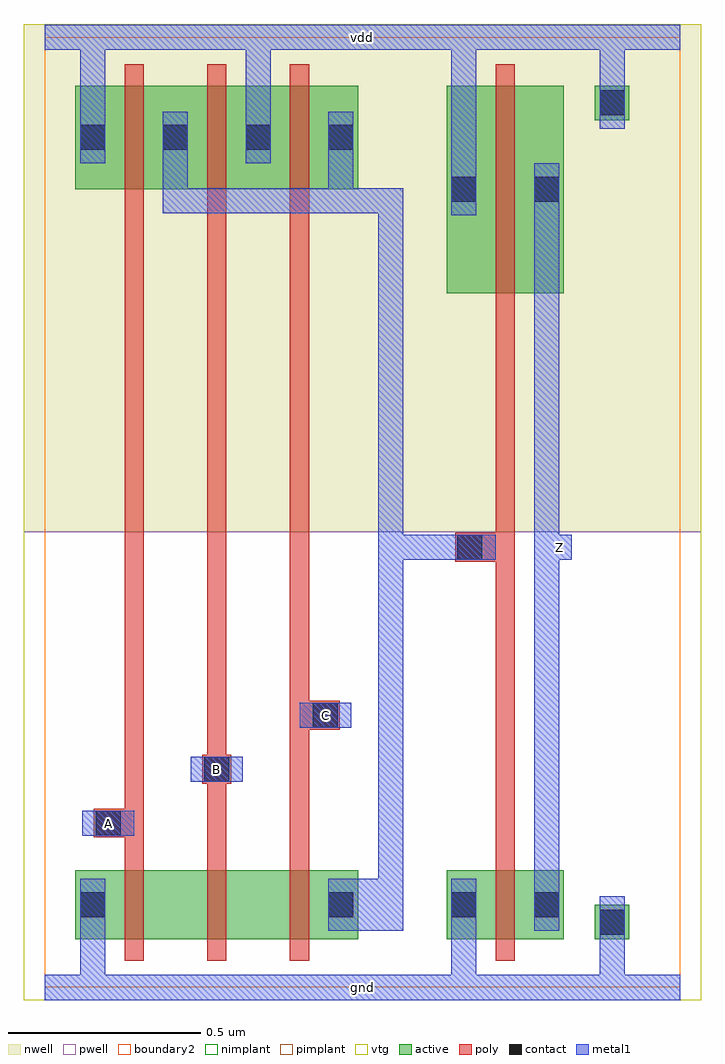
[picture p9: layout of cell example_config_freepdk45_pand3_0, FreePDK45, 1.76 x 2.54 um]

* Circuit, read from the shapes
.subckt example_config_freepdk45_pand3_0 A B C Z gnd vdd
M1 example_config_freepdk45_pnand3_0_0/example_config_freepdk45_nmos_m1_w0_180_sm1_dactive_3/D A gnd gnd nfet w=0.18u l=0.05u
M2 example_config_freepdk45_pnand3_0_0/example_config_freepdk45_nmos_m1_w0_180_sactive_dactive_4/D B example_config_freepdk45_pnand3_0_0/example_config_freepdk45_nmos_m1_w0_180_sm1_dactive_3/D gnd nfet w=0.18u l=0.05u
M3 example_config_freepdk45_pdriver_3_1/A C example_config_freepdk45_pnand3_0_0/example_config_freepdk45_nmos_m1_w0_180_sactive_dactive_4/D gnd nfet w=0.18u l=0.05u
M4 Z example_config_freepdk45_pdriver_3_1/A gnd gnd nfet w=0.18u l=0.05u
M5 example_config_freepdk45_pdriver_3_1/A A vdd vdd pfet w=0.27u l=0.05u
M6 vdd B example_config_freepdk45_pdriver_3_1/A vdd pfet w=0.27u l=0.05u
M7 example_config_freepdk45_pdriver_3_1/A C vdd vdd pfet w=0.27u l=0.05u
M8 Z example_config_freepdk45_pdriver_3_1/A vdd vdd pfet w=0.54u l=0.05u
.ends

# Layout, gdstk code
import gdstk
lib = gdstk.Library(unit=1e-6, precision=5e-10)
def R(c, l, rs):  # rectangles x0, y0, x1, y1
    for r in rs: c.add(gdstk.rectangle(r[:2], r[2:], *l))
def A(c, l, x, y, w, h, nx, ny, dx, dy):  # array of equal rectangles
    R(c, l, [(x+i*dx, y+j*dy, x+i*dx+w, y+j*dy+h) for i in range(nx) for j in range(ny)])
active = (1, 0)
pwell = (2, 0)
nwell = (3, 0)
nimplant = (4, 0)
pimplant = (5, 0)
vtg = (6, 0)
poly = (9, 0)
contact = (10, 0)
metal1 = (11, 0)
boundary2 = (239, 0)

example_config_freepdk45 = lib.new_cell('example_config_freepdk45_contact_11')
R(example_config_freepdk45, active, [(0,0.0225,0.09,0.1125)])
R(example_config_freepdk45, nwell, [(-0.055,-0.0325,0.145,0.1675)])
R(example_config_freepdk45, pimplant, [(0,0.0225,0.09,0.1125)])
R(example_config_freepdk45, contact, [(0.0125,0.035,0.0775,0.1)])
R(example_config_freepdk45, metal1, [(0.0125,0,0.0775,0.135)])
R(example_config_freepdk45, boundary2, [(-0.055,-0.0325,0.145,0.1675)])

c_example_config_freepdk45 = lib.new_cell('example_config_freepdk45_pmos_m1_w0_270_sm1_dm1')
R(c_example_config_freepdk45, active, [(0,0,0.305,0.27)])
R(c_example_config_freepdk45, nwell, [(-0.08,-0.08,0.385,0.35)])
R(c_example_config_freepdk45, pimplant, [(0,0,0.305,0.27)])
R(c_example_config_freepdk45, vtg, [(-0.08,-0.08,0.385,0.35)])
R(c_example_config_freepdk45, poly, [(0.1275,-0.055,0.1775,0.325), (0.1275,-0.055,0.1775,0.325)])
R(c_example_config_freepdk45, metal1, [(0.0125,0.0675,0.0775,0.2025), (0.2275,0.0675,0.2925,0.2025)])
R(c_example_config_freepdk45, boundary2, [(-0.08,-0.08,0.385,0.35)])
c_example_config_freepdk45.add(gdstk.Reference(example_config_freepdk45, (0,0.0675)))
c_example_config_freepdk45.add(gdstk.Reference(example_config_freepdk45, (0.215,0.0675)))
c_example_config_freepdk45.add(gdstk.Label('G', (0.1525,0.135), layer=9, texttype=0))
c_example_config_freepdk45.add(gdstk.Label('S', (0.045,0.135), layer=11, texttype=0))
c_example_config_freepdk45.add(gdstk.Label('D', (0.26,0.135), layer=11, texttype=0))

c_example_config_freepdk45_ = lib.new_cell('example_config_freepdk45_contact_10')
R(c_example_config_freepdk45_, active, [(0,0.0225,0.09,0.1125)])
R(c_example_config_freepdk45_, pwell, [(-0.055,-0.0325,0.145,0.1675)])
R(c_example_config_freepdk45_, nimplant, [(0,0.0225,0.09,0.1125)])
R(c_example_config_freepdk45_, contact, [(0.0125,0.035,0.0775,0.1)])
R(c_example_config_freepdk45_, metal1, [(0.0125,0,0.0775,0.135)])
R(c_example_config_freepdk45_, boundary2, [(-0.055,-0.0325,0.145,0.1675)])

c_example_config_freepdk45__ = lib.new_cell('example_config_freepdk45_nmos_m1_w0_180_sm1_dactive')
R(c_example_config_freepdk45__, active, [(0,0,0.305,0.18), (0.215,0.045,0.305,0.135)])
R(c_example_config_freepdk45__, pwell, [(-0.08,-0.08,0.385,0.26)])
R(c_example_config_freepdk45__, nimplant, [(0,0,0.305,0.18)])
R(c_example_config_freepdk45__, vtg, [(-0.08,-0.08,0.385,0.26)])
R(c_example_config_freepdk45__, poly, [(0.1275,-0.055,0.1775,0.235), (0.1275,-0.055,0.1775,0.235)])
R(c_example_config_freepdk45__, metal1, [(0.0125,0.0225,0.0775,0.1575)])
R(c_example_config_freepdk45__, boundary2, [(-0.08,-0.08,0.385,0.26)])
c_example_config_freepdk45__.add(gdstk.Reference(c_example_config_freepdk45_, (0,0.0225)))
c_example_config_freepdk45__.add(gdstk.Label('G', (0.1525,0.09), layer=9, texttype=0))
c_example_config_freepdk45__.add(gdstk.Label('S', (0.045,0.09), layer=11, texttype=0))
c_example_config_freepdk45__.add(gdstk.Label('D', (0.26,0.09), layer=1, texttype=0))

c_example_config_freepdk45___ = lib.new_cell('example_config_freepdk45_nmos_m1_w0_180_sactive_dactive')
R(c_example_config_freepdk45___, active, [(0,0,0.305,0.18), (0,0.045,0.09,0.135), (0.215,0.045,0.305,0.135)])
R(c_example_config_freepdk45___, pwell, [(-0.08,-0.08,0.385,0.26)])
R(c_example_config_freepdk45___, nimplant, [(0,0,0.305,0.18)])
R(c_example_config_freepdk45___, vtg, [(-0.08,-0.08,0.385,0.26)])
R(c_example_config_freepdk45___, poly, [(0.1275,-0.055,0.1775,0.235), (0.1275,-0.055,0.1775,0.235)])
R(c_example_config_freepdk45___, boundary2, [(-0.08,-0.08,0.385,0.26)])
c_example_config_freepdk45___.add(gdstk.Label('G', (0.1525,0.09), layer=9, texttype=0))
c_example_config_freepdk45___.add(gdstk.Label('S', (0.045,0.09), layer=1, texttype=0))
c_example_config_freepdk45___.add(gdstk.Label('D', (0.26,0.09), layer=1, texttype=0))

c_example_config_freepdk45____ = lib.new_cell('example_config_freepdk45_nmos_m1_w0_180_sactive_dm1')
R(c_example_config_freepdk45____, active, [(0,0,0.305,0.18), (0,0.045,0.09,0.135)])
R(c_example_config_freepdk45____, pwell, [(-0.08,-0.08,0.385,0.26)])
R(c_example_config_freepdk45____, nimplant, [(0,0,0.305,0.18)])
R(c_example_config_freepdk45____, vtg, [(-0.08,-0.08,0.385,0.26)])
R(c_example_config_freepdk45____, poly, [(0.1275,-0.055,0.1775,0.235), (0.1275,-0.055,0.1775,0.235)])
R(c_example_config_freepdk45____, metal1, [(0.2275,0.0225,0.2925,0.1575)])
R(c_example_config_freepdk45____, boundary2, [(-0.08,-0.08,0.385,0.26)])
c_example_config_freepdk45____.add(gdstk.Reference(c_example_config_freepdk45_, (0.215,0.0225)))
c_example_config_freepdk45____.add(gdstk.Label('G', (0.1525,0.09), layer=9, texttype=0))
c_example_config_freepdk45____.add(gdstk.Label('S', (0.045,0.09), layer=1, texttype=0))
c_example_config_freepdk45____.add(gdstk.Label('D', (0.26,0.09), layer=11, texttype=0))

c_example_config_freepdk45_____ = lib.new_cell('example_config_freepdk45_contact_14')
R(c_example_config_freepdk45_____, poly, [(0.03,0,0.105,0.075)])
R(c_example_config_freepdk45_____, contact, [(0.035,0.005,0.1,0.07)])
R(c_example_config_freepdk45_____, metal1, [(0,0.005,0.135,0.07)])
R(c_example_config_freepdk45_____, boundary2, [(0,0,0.135,0.075)])

c_example_config_freepdk45______ = lib.new_cell('example_config_freepdk45_pnand3_0')
R(c_example_config_freepdk45______, pwell, [(-0.055,-0.0325,1.02,1.185)])
R(c_example_config_freepdk45______, nwell, [(-0.055,1.185,1.02,2.505)])
R(c_example_config_freepdk45______, vtg, [(-0.055,-0.0325,1.02,1.185), (-0.055,1.185,1.02,2.505)])
A(c_example_config_freepdk45______, poly, 0.2075, 0.36, 0.05, 1.66, 3, 1, 0.215, 0)
R(c_example_config_freepdk45______, poly, [(0.165,0.39,0.2075,0.465), (0.4225,0.53,0.4475,0.605), (0.6375,0.67,0.73,0.745)])
R(c_example_config_freepdk45______, metal1, [(0,-0.0325,0.965,0.0325), (0.0925,-0.0325,0.1575,0.1475), (0.77,0.1475,0.9,0.2825), (0.8675,0.1475,0.9325,2.045), (0.0975,0.395,0.2325,0.46), (0.38,0.535,0.515,0.6), (0.6625,0.675,0.7975,0.74), (0.3075,2.0125,0.3725,2.0775), (0.34,2.0125,0.9,2.0775), (0.7375,2.0125,0.8025,2.0775), (0.77,2.0125,0.9,2.0775), (0.8675,2.0125,0.9325,2.0775), (0.3075,2.045,0.3725,2.21), (0.7375,2.045,0.8025,2.21), (0.0925,2.1425,0.1575,2.5025), (0.5225,2.1425,0.5875,2.5025), (0,2.4375,0.965,2.5025)])
R(c_example_config_freepdk45______, boundary2, [(0,0,0.965,2.47), (0,0,0.965,2.47)])
c_example_config_freepdk45______.add(gdstk.Reference(c_example_config_freepdk45, (0.08,2.075)))
c_example_config_freepdk45______.add(gdstk.Reference(c_example_config_freepdk45, (0.295,2.075)))
c_example_config_freepdk45______.add(gdstk.Reference(c_example_config_freepdk45, (0.51,2.075)))
c_example_config_freepdk45______.add(gdstk.Reference(c_example_config_freepdk45__, (0.08,0.125)))
c_example_config_freepdk45______.add(gdstk.Reference(c_example_config_freepdk45___, (0.295,0.125)))
c_example_config_freepdk45______.add(gdstk.Reference(c_example_config_freepdk45____, (0.51,0.125)))
c_example_config_freepdk45______.add(gdstk.Reference(c_example_config_freepdk45_____, (0.0975,0.39)))
c_example_config_freepdk45______.add(gdstk.Reference(c_example_config_freepdk45_____, (0.38,0.53)))
c_example_config_freepdk45______.add(gdstk.Reference(c_example_config_freepdk45_____, (0.6625,0.67)))
c_example_config_freepdk45______.add(gdstk.Label('A', (0.165,0.4275), layer=11, texttype=0))
c_example_config_freepdk45______.add(gdstk.Label('B', (0.4475,0.5675), layer=11, texttype=0))
c_example_config_freepdk45______.add(gdstk.Label('C', (0.73,0.7075), layer=11, texttype=0))
c_example_config_freepdk45______.add(gdstk.Label('Z', (0.9,2.045), layer=11, texttype=0))
c_example_config_freepdk45______.add(gdstk.Label('gnd', (0.4825,0), layer=11, texttype=0))
c_example_config_freepdk45______.add(gdstk.Label('vdd', (0.4825,2.47), layer=11, texttype=0))

c_example_config_freepdk45_______ = lib.new_cell('example_config_freepdk45_pmos_m1_w0_540_sm1_dm1_da_p')
R(c_example_config_freepdk45_______, active, [(0,0,0.305,0.54)])
R(c_example_config_freepdk45_______, nwell, [(-0.08,-0.08,0.385,0.62)])
R(c_example_config_freepdk45_______, pimplant, [(0,0,0.305,0.54)])
R(c_example_config_freepdk45_______, vtg, [(-0.08,-0.08,0.385,0.62)])
R(c_example_config_freepdk45_______, poly, [(0.1275,-0.055,0.1775,0.595), (0.1275,-0.055,0.1775,0.595)])
R(c_example_config_freepdk45_______, metal1, [(0.0125,0.2025,0.0775,0.3375), (0.2275,0.2025,0.2925,0.3375)])
R(c_example_config_freepdk45_______, boundary2, [(-0.08,-0.08,0.385,0.62)])
c_example_config_freepdk45_______.add(gdstk.Reference(example_config_freepdk45, (0,0.2025)))
c_example_config_freepdk45_______.add(gdstk.Reference(example_config_freepdk45, (0.215,0.2025)))
c_example_config_freepdk45_______.add(gdstk.Label('G', (0.1525,0.27), layer=9, texttype=0))
c_example_config_freepdk45_______.add(gdstk.Label('S', (0.045,0.27), layer=11, texttype=0))
c_example_config_freepdk45_______.add(gdstk.Label('D', (0.26,0.27), layer=11, texttype=0))

c_example_config_freepdk45________ = lib.new_cell('example_config_freepdk45_nmos_m1_w0_180_sm1_dm1_da_p')
R(c_example_config_freepdk45________, active, [(0,0,0.305,0.18)])
R(c_example_config_freepdk45________, pwell, [(-0.08,-0.08,0.385,0.26)])
R(c_example_config_freepdk45________, nimplant, [(0,0,0.305,0.18)])
R(c_example_config_freepdk45________, vtg, [(-0.08,-0.08,0.385,0.26)])
R(c_example_config_freepdk45________, poly, [(0.1275,-0.055,0.1775,0.235), (0.1275,-0.055,0.1775,0.235)])
R(c_example_config_freepdk45________, metal1, [(0.0125,0.0225,0.0775,0.1575), (0.2275,0.0225,0.2925,0.1575)])
R(c_example_config_freepdk45________, boundary2, [(-0.08,-0.08,0.385,0.26)])
c_example_config_freepdk45________.add(gdstk.Reference(c_example_config_freepdk45_, (0,0.0225)))
c_example_config_freepdk45________.add(gdstk.Reference(c_example_config_freepdk45_, (0.215,0.0225)))
c_example_config_freepdk45________.add(gdstk.Label('G', (0.1525,0.09), layer=9, texttype=0))
c_example_config_freepdk45________.add(gdstk.Label('S', (0.045,0.09), layer=11, texttype=0))
c_example_config_freepdk45________.add(gdstk.Label('D', (0.26,0.09), layer=11, texttype=0))

c_example_config_freepdk45_________ = lib.new_cell('example_config_freepdk45_contact_12')
R(c_example_config_freepdk45_________, active, [(0,0.0225,0.09,0.1125)])
R(c_example_config_freepdk45_________, nwell, [(-0.055,-0.0325,0.145,0.1675)])
R(c_example_config_freepdk45_________, nimplant, [(0,0.0225,0.09,0.1125)])
R(c_example_config_freepdk45_________, contact, [(0.0125,0.035,0.0775,0.1)])
R(c_example_config_freepdk45_________, metal1, [(0.0125,0,0.0775,0.135)])
R(c_example_config_freepdk45_________, boundary2, [(-0.055,-0.0325,0.145,0.1675)])

c_example_config_freepdk45__________ = lib.new_cell('example_config_freepdk45_contact_13')
R(c_example_config_freepdk45__________, active, [(0,0.0225,0.09,0.1125)])
R(c_example_config_freepdk45__________, pwell, [(-0.055,-0.0325,0.145,0.1675)])
R(c_example_config_freepdk45__________, pimplant, [(0,0.0225,0.09,0.1125)])
R(c_example_config_freepdk45__________, contact, [(0.0125,0.035,0.0775,0.1)])
R(c_example_config_freepdk45__________, metal1, [(0.0125,0,0.0775,0.135)])
R(c_example_config_freepdk45__________, boundary2, [(-0.055,-0.0325,0.145,0.1675)])

c_example_config_freepdk45___________ = lib.new_cell('example_config_freepdk45_pinv_6')
R(c_example_config_freepdk45___________, pwell, [(-0.055,-0.0325,0.7425,1.185)])
R(c_example_config_freepdk45___________, nwell, [(-0.055,1.185,0.7425,2.505)])
R(c_example_config_freepdk45___________, vtg, [(-0.055,-0.0325,0.7425,1.185), (-0.055,1.185,0.7425,2.505)])
R(c_example_config_freepdk45___________, poly, [(0.2075,0.36,0.2575,1.75), (0.14,1.1075,0.2075,1.1825)])
R(c_example_config_freepdk45___________, metal1, [(0,-0.0325,0.6875,0.0325), (0.0925,-0.0325,0.1575,0.1475), (0.4775,0,0.5425,0.17), (0.3075,0.1475,0.3725,2.1425), (0.0725,1.1125,0.2075,1.1775), (0.34,1.1125,0.405,1.1775), (0.0925,2.0075,0.1575,2.5025), (0.4775,2.3,0.5425,2.47), (0,2.4375,0.6875,2.5025)])
R(c_example_config_freepdk45___________, boundary2, [(0,0,0.6875,2.47), (0,0,0.6875,2.47)])
c_example_config_freepdk45___________.add(gdstk.Reference(c_example_config_freepdk45_______, (0.08,1.805)))
c_example_config_freepdk45___________.add(gdstk.Reference(c_example_config_freepdk45________, (0.08,0.125)))
c_example_config_freepdk45___________.add(gdstk.Reference(c_example_config_freepdk45_________, (0.465,2.2325)))
c_example_config_freepdk45___________.add(gdstk.Reference(c_example_config_freepdk45__________, (0.465,0.1025)))
c_example_config_freepdk45___________.add(gdstk.Reference(c_example_config_freepdk45_____, (0.0725,1.1075)))
c_example_config_freepdk45___________.add(gdstk.Label('A', (0.14,1.145), layer=11, texttype=0))
c_example_config_freepdk45___________.add(gdstk.Label('Z', (0.3725,1.145), layer=11, texttype=0))
c_example_config_freepdk45___________.add(gdstk.Label('gnd', (0.344,0), layer=11, texttype=0))
c_example_config_freepdk45___________.add(gdstk.Label('vdd', (0.344,2.47), layer=11, texttype=0))

c_example_config_freepdk45____________ = lib.new_cell('example_config_freepdk45_pdriver_3')
R(c_example_config_freepdk45____________, pwell, [(-0.055,-0.0325,0.7425,1.185)])
R(c_example_config_freepdk45____________, nwell, [(-0.055,1.185,0.7425,2.505)])
R(c_example_config_freepdk45____________, vtg, [(-0.055,-0.0325,0.7425,1.185), (-0.055,1.185,0.7425,2.505)])
R(c_example_config_freepdk45____________, metal1, [(0,-0.0325,0.6875,0.0325), (0.0725,1.1125,0.2075,1.1775), (0.34,1.1125,0.405,1.1775), (0,2.4375,0.6875,2.5025)])
R(c_example_config_freepdk45____________, boundary2, [(0,0,0.6875,2.47), (0,0,0.6875,2.47)])
c_example_config_freepdk45____________.add(gdstk.Reference(c_example_config_freepdk45___________, (0,0)))
c_example_config_freepdk45____________.add(gdstk.Label('Z', (0.3725,1.145), layer=11, texttype=0))
c_example_config_freepdk45____________.add(gdstk.Label('A', (0.14,1.145), layer=11, texttype=0))
c_example_config_freepdk45____________.add(gdstk.Label('gnd', (0.344,0), layer=11, texttype=0))
c_example_config_freepdk45____________.add(gdstk.Label('vdd', (0.344,2.47), layer=11, texttype=0))

c_example_config_freepdk45_____________ = lib.new_cell('example_config_freepdk45_pand3_0')
R(c_example_config_freepdk45_____________, metal1, [(0,-0.0325,1.6525,0.0325), (0.0975,0.395,0.2325,0.46), (0.38,0.535,0.515,0.6), (0.6625,0.675,0.7975,0.74), (0.8675,1.1125,0.9325,1.1775), (0.9,1.1125,1.105,1.1775), (1.305,1.1125,1.37,1.1775), (0.8675,1.145,0.9325,2.045), (0,2.4375,1.6525,2.5025)])
R(c_example_config_freepdk45_____________, boundary2, [(0,0,1.6525,2.47), (0,0,1.6525,2.47)])
c_example_config_freepdk45_____________.add(gdstk.Reference(c_example_config_freepdk45______, (0,0)))
c_example_config_freepdk45_____________.add(gdstk.Reference(c_example_config_freepdk45____________, (0.965,0)))
c_example_config_freepdk45_____________.add(gdstk.Label('Z', (1.3375,1.145), layer=11, texttype=0))
c_example_config_freepdk45_____________.add(gdstk.Label('A', (0.165,0.4275), layer=11, texttype=0))
c_example_config_freepdk45_____________.add(gdstk.Label('B', (0.4475,0.5675), layer=11, texttype=0))
c_example_config_freepdk45_____________.add(gdstk.Label('C', (0.73,0.7075), layer=11, texttype=0))
c_example_config_freepdk45_____________.add(gdstk.Label('gnd', (0.826,0), layer=11, texttype=0))
c_example_config_freepdk45_____________.add(gdstk.Label('vdd', (0.826,2.47), layer=11, texttype=0))

lib.write_gds('example_config_freepdk45_pand3_0.gds')
